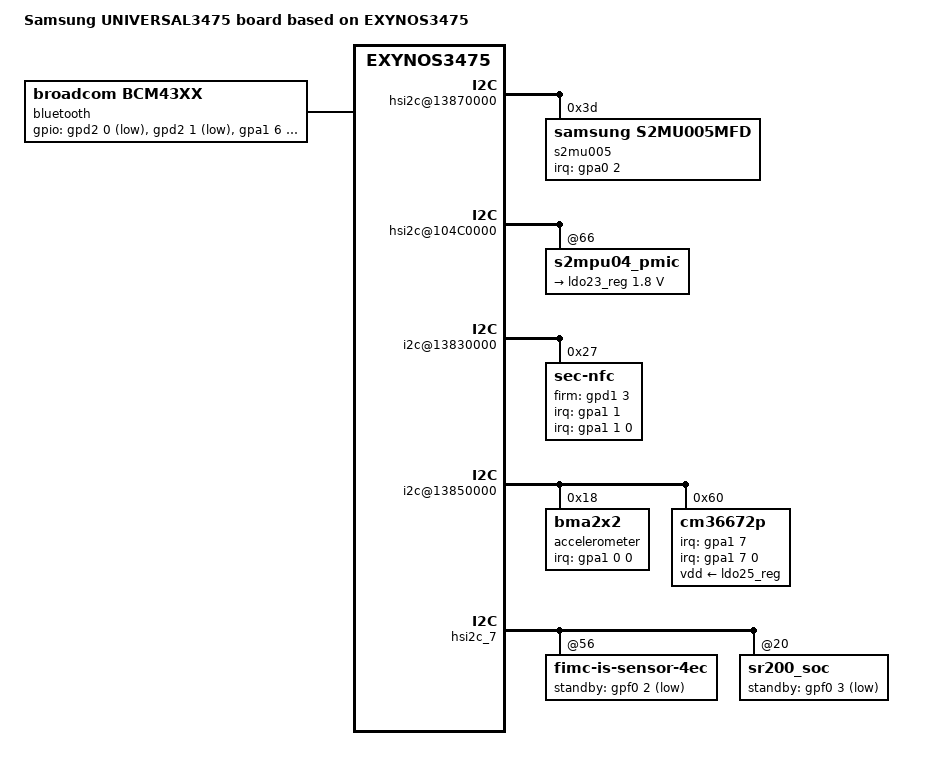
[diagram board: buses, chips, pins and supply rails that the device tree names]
/*
 * SAMSUNG EXYNOS3475 board device tree source
 *
 * Copyright (c) 2013 Samsung Electronics Co., Ltd.
 *		http://www.samsung.com
 *
 * This program is free software; you can redistribute it and/or modify
 * it under the terms of the GNU General Public License version 2 as
 * published by the Free Software Foundation.
*/

/dts-v1/;
#include "exynos3475-j1x_common.dtsi"
#include "modem-ss308ap-pdata.dtsi"
#include "exynos3475-j1xlte_att_battery.dtsi"
#include "exynos3475-j1xlte_att_jt_gpio_00.dtsi"

/ {
	model = "Samsung UNIVERSAL3475 board based on EXYNOS3475";
	model_info-chip = <3475>;
	model_info-platform = "android";
	model_info-subtype = "samsung";
	model_info-hw_rev = <0>;
	model_info-hw_rev_end = <1>;
	compatible = "samsung,UNIVERSAL3475", "samsung,exynos3475";

	hsi2c@13870000 {
		status = "okay";
		s2mu005@3d {
			compatible = "samsung,s2mu005mfd";
			reg = <0x3d>;
			pinctrl-names = "default";
			pinctrl-0 = <&if_pmic_irq>;
			s2mu005,irq-gpio = <&gpa0 2 0>;
			s2mu005,wakeup;

			leds {
				flash-gpio = <&gpd2 3 0>;
				torch-gpio = <&gpd0 7 0>;

				flash_current = <1000>;
				preflash_current = <175>;
				movie_current = <175>;
				torch_current = <75>;
				factory_current = <250>;

				status = "okay";
				s2mu005-leds1 {
					ledname = "leds-sec1";
					id = <0>;
					timeout = <15>;
				};

				s2mu005-leds2 {
					ledname = "leds-sec2";
					id = <1>;
					timeout = <15>;
				};
			};

			muic {
				status = "okay";
				muic,uart_addr = "139c0000.pinctrl";
				muic,uart_rxd = "gpb1-0";
				muic,uart_txd = "gpb1-1";
			};
		};
	};

	hsi2c@104C0000 {
		s2mpu04_pmic@66 {
			regulators {
				ldo23_reg: LDO23 {
					regulator-name = "vdd_ldo23";
					regulator-min-microvolt = <1800000>;
					regulator-max-microvolt = <1800000>;
					regulator-always-on;
					regulator-initial-mode = <3>;
				};
			};
		};
	};

	bluetooth {
		compatible = "broadcom,bcm43xx";
		gpios = <&gpd2 0 1	/*BT_EN*/
				&gpd2 1 1	/*BT_WAKE*/
				&gpa1 6 0xF	/*BT_HOST_WAKE*/ >;
		pinctrl-names = "default";
		pinctrl-0=<&bt_hostwake &bt_btwake &bt_reg_on>;
		status = "okay";
	};
	
	i2c@13830000 {
		status = "okay";
		samsung,i2c-max-bus-freq = <300000>;
		sec-nfc@27 {
			compatible = "sec-nfc";
			reg = <0x27>;
			interrupts = <1 0 0>;
			interrupt-parent = <&gpa1>;
			sec-nfc,firm-gpio = <&gpd1 3 0>;
			sec-nfc,irq-gpio = <&gpa1 1 0>;
			clkctrl-reg = <0x10466008>;
			sec-nfc,nfc_clkreq = <&gpc2 3 0x2>;
			sec-nfc,nfc_pd = <&gpc2 2 0x2>;
			sec-nfc,i2c_1p8 = "vdd_ldo23";
			pinctrl-names = "default","sleep";
			pinctrl-0 = <&nfc_n5_en &nfc_n5_clk_req &nfc_clk &nfc_n5_firm>;
			pinctrl-1 = <&nfc_n5_en>;
		};
	};
	
	pinctrl@139B0000 {
		acc_int: acc_int {
			samsung,pins = "gpa1-0";
			samsung,pins-function = <0x0>;
			samsung,pin-pud = <0>;
			samsung,pin-drv = <0>;
		};
		prox_int: prox_int {
			samsung,pins = "gpa1-7";
			samsung,pins-function = <0x0>;
			samsung,pin-pud = <3>;
			samsung,pin-drv = <0>;
		};
	};

	i2c@13850000 {
		samsung,i2c-sda-delay = <100>;
		samsung,i2c-max-bus-freq = <400000>;
		status = "okay";

		accelerometer@18 {
			compatible = "bma2x2";
			reg = <0x18>;
			interrupt-parent = <&gpa1>;
			interrupts = <0 0 0>;
			bma2x2,gpio_int1 = <&gpa1 0 0>;
			bma2x2,accel_place = <6>;
		};

		cm36672p@60 {
			compatible = "cm36672p";
			reg = <0x60>;
			pinctrl-names = "default";
			pinctrl-0 = <&prox_int>;
			interrupt-parent = <&gpa1>;
			interrupts = <7 0 0>;
			cm36672p,vdd-supply = <&ldo25_reg>;
			cm36672p,vdd_always_on = <0>;
			cm36672p,vled_ldo = <&gpd0 6 0x1>;
			cm36672p,irq_gpio = <&gpa1 7 0>;
			cm36672p,default_hi_thd = <19>;
			cm36672p,default_low_thd = <14>;
			cm36672p,cancel_hi_thd = <10>;
			cm36672p,cancel_low_thd = <7>;
			cm36672p,ps_duty = <2>;
			cm36672p,ps_it = <0>;
			cm36672p,led_current = <1>;
			cm36672p,default_trim = <0>;
		};
	};

	hsi2c_7: hsi2c@138A0000 {
		fimc-is-sensor-4ec@56 {
			gpio_standby = <&gpf0 2 0x1>; /* MAIN_CAM_STBY */
		};

		sr200_soc@20 {
			gpio_standby = <&gpf0 3 0x1>; /* VT_CAM_STBY */
		};
	};
};
